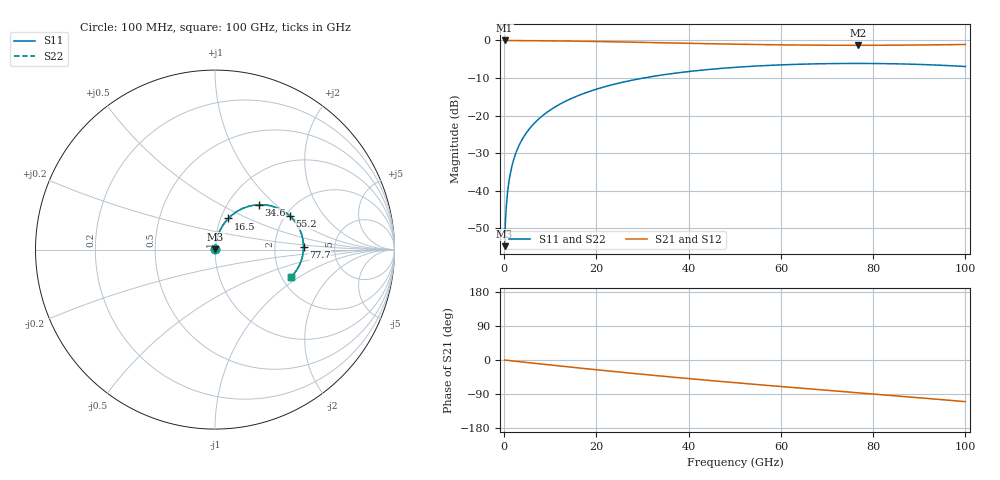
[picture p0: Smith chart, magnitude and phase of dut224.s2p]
! Touchstone file exported from HFSS 2026.1.0
!  File:  C:/ffzhzh/LocalFiles/Ansys_Project_Files/temp_train_RDL_224_1783501075_9504.aedt
!  Generated:  04:59:12 PM Jul  8, 2026
!  Design:  RDL
!  Project:  temp_train_RDL_224_1783501075_9504
! Variables:
!  h_bsmrdl = 2um
!  h_ox = 20um
!  h_rdl = 5um
!  h_sub = 80um
!  h_tmrdl = 4.95um
!  h_tsv = 80um
!  h_via = 3um
!  l_bsmrdl = 300um
!  l_sub = 763.86um
!  l_tmrdl = 363.86um
!  m_sub = 200um
!  pitch = 51.5um
!  r_tsv = 6um
!  s_tmrdl = 10um
!  w_bsmrdl = 18um
!  w_sub = 500um
!  w_tmrdl = 26.04um
!  x_tsv_center1 = 376.88um
!  x_tsv_center2 = 694.88um
!  x_tsv_center3 = 1084.78um
!  x_tsv_center4 = 1402.78um
!  x_tsv_center5 = 1792.68um
!  x_tsv_center6 = 2110.68um
# GHz S MA R 50.000000
! Terminal data exported
! Port[1] = TM_RDL1_1_T1
! Port[2] = TM_RDL1_1_T2
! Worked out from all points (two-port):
!   1000 points, 100 MHz to 100 GHz, reference 50 ohm
!   highest |S21| = -0.01 dB at 100 MHz (marker M1); lowest = -1.3 dB at 76.8 GHz (marker M2)
!   |S21| within 3 dB of the highest: start of sweep to end of sweep
!   lowest |S11| = -54.8 dB at 100 MHz (marker M3), VSWR 1.00, Z = 50.1 + j0.138 ohm
!   |S11| at or under -10 dB: start of sweep to 30.28 GHz
!   |S22| runs from -54.8 to -6.1 dB; largest |S21 - S12| = 1.6e-14
!   S11 on the Smith chart (normalised r, x): 100 MHz: 1.00, +0.00; 16.5 GHz: 1.09, +0.39; 34.6 GHz: 1.38, +0.79; 55.2 GHz: 2.12, +1.00; 77.7 GHz: 2.94, +0.13; 100 GHz: 2.23, -0.86
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0.1  0.00182 49.2  0.9988 -0.1  0.9988 -0.1  0.00182 49.2
! Gamma 0 0 0 0
! Port Impedance 50 0 50 0
0.8  0.01022 80.4  0.9984 -1.1  0.9984 -1.1  0.01022 80.4
1.1  0.01392 82.0  0.9983 -1.5  0.9983 -1.5  0.01392 82.0
1.4  0.01762 82.7  0.9982 -1.9  0.9982 -1.9  0.01762 82.7
1.9  0.02378 83.0  0.9979 -2.6  0.9979 -2.6  0.02378 83.0
2.4  0.0299 82.8  0.9975 -3.2  0.9975 -3.2  0.0299 82.8
3.8  0.04679 81.6  0.9962 -5.1  0.9962 -5.1  0.04679 81.6
5.9  0.07152 79.3  0.9939 -7.8  0.9939 -7.8  0.07152 79.3
8.7  0.1037 76.1  0.9902 -11.5  0.9902 -11.5  0.1037 76.1
12.2  0.1428 72.0  0.9846 -16.0  0.9846 -16.0  0.1428 72.0
16.5  0.1887 66.8  0.9761 -21.4  0.9761 -21.4  0.1887 66.8
16.8  0.1918 66.4  0.9754 -21.8  0.9754 -21.8  0.1918 66.4
24.2  0.264 57.6  0.9576 -30.9  0.9576 -30.9  0.264 57.6
33.4  0.3403 47.1  0.9326 -41.7  0.9326 -41.7  0.3403 47.1
34.6  0.3491 45.7  0.9293 -43.1  0.9293 -43.1  0.3491 45.7
50.1  0.4381 29.1  0.8907 -59.9  0.8907 -59.9  0.4381 29.1
55.2  0.4579 23.9  0.8808 -65.2  0.8808 -65.2  0.4578 24.0
66.7  0.4863 12.6  0.8654 -76.7  0.8654 -76.7  0.4863 12.6
76.8  0.4938 2.8  0.8611 -86.6  0.8611 -86.6  0.4937 2.8
77.7  0.4936 1.9  0.8611 -87.5  0.8611 -87.5  0.4936 1.9
83.4  0.4899 -3.6  0.863 -93.1  0.863 -93.1  0.4899 -3.6
100  0.449 -20.1  0.8835 -109.9  0.8835 -109.9  0.449 -20.1
